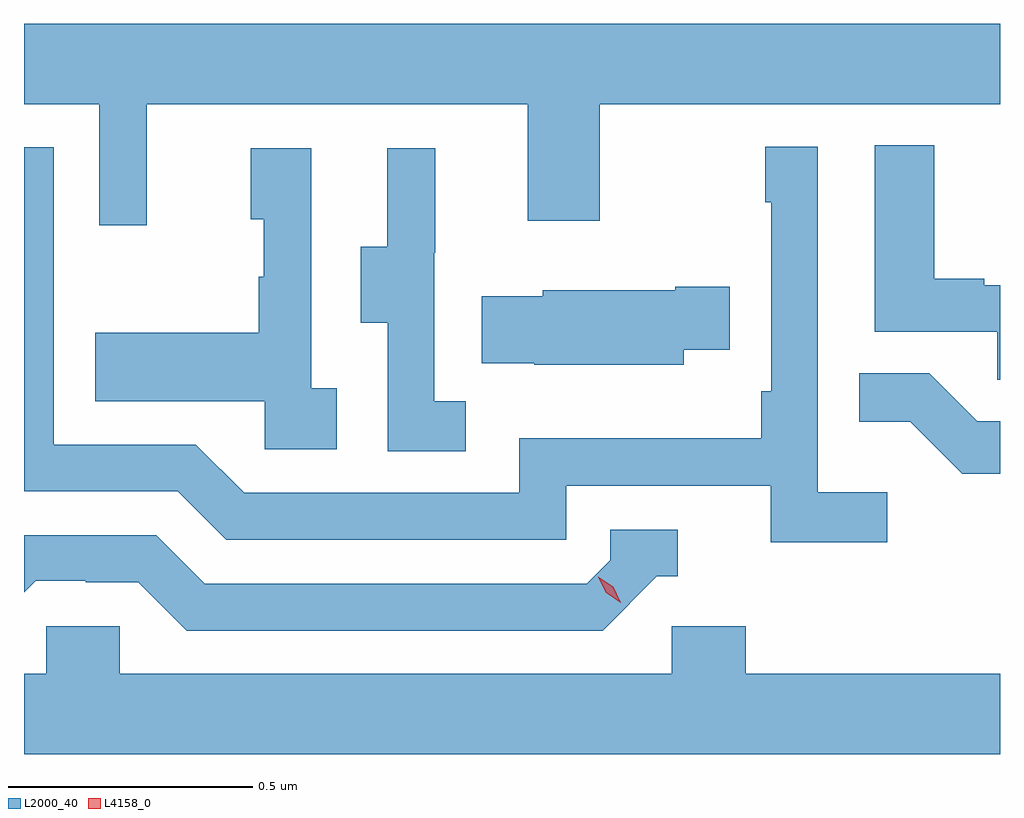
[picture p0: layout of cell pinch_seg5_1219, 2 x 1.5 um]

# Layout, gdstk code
import gdstk
lib = gdstk.Library(unit=1e-6, precision=1e-09)
def P(c, l, *ps):  # polygons
    for p in ps: c.add(gdstk.Polygon(p, *l))
L2000_40 = (2000, 40)
L4158_0 = (4158, 0)

pinch_seg5_1219 = lib.new_cell('pinch_seg5_1219')
P(pinch_seg5_1219, L2000_40, [(827.651,838.112),(828.431,838.112),(828.431,837.873),(828.579,837.873),(828.579,838.112),(829.399,838.112),(829.399,838.276),(827.399,838.276),(827.399,838.112),(827.553,838.112),(827.553,837.864),(827.651,837.864)],
  [(829.399,837.741),(829.367,837.741),(829.367,837.754),(829.264,837.754),(829.264,838.027),(829.142,838.027),(829.142,837.645),(829.393,837.645),(829.393,837.547),(829.399,837.547)],
  [(829.168,837.316),(829.026,837.316),(829.026,838.024),(828.918,838.024),(828.918,837.911),(828.93,837.911),(828.93,837.523),(828.91,837.523),(828.91,837.427),(828.414,837.427),(828.414,837.315),(827.85,837.315),(827.751,837.414),(827.46,837.414),(827.46,838.023),(827.399,838.023),(827.399,837.318),(827.714,837.318),(827.813,837.219),(828.51,837.219),(828.51,837.33),(828.929,837.33),(828.929,837.214),(829.168,837.214)],
  [(828.304,837.503),(828.24,837.503),(828.24,837.807),(828.242,837.807),(828.242,838.021),(828.143,838.021),(828.143,837.819),(828.089,837.819),(828.089,837.664),(828.144,837.664),(828.144,837.4),(828.304,837.4)],
  [(828.04,837.53),(827.988,837.53),(827.988,838.021),(827.864,838.021),(827.864,837.876),(827.89,837.876),(827.89,837.758),(827.88,837.758),(827.88,837.643),(827.545,837.643),(827.545,837.503),(827.892,837.503),(827.892,837.405),(828.04,837.405)],
  [(828.751,837.608),(828.845,837.608),(828.845,837.738),(828.734,837.738),(828.734,837.73),(828.462,837.73),(828.462,837.718),(828.337,837.718),(828.337,837.581),(828.445,837.581),(828.445,837.578),(828.751,837.578)],
  [(829.399,837.462),(829.352,837.462),(829.254,837.56),(829.111,837.56),(829.111,837.461),(829.215,837.461),(829.322,837.354),(829.399,837.354)],
  [(828.696,837.144),(828.739,837.144),(828.739,837.24),(828.6,837.24),(828.6,837.177),(828.552,837.129),(827.769,837.129),(827.67,837.228),(827.399,837.228),(827.399,837.111),(827.423,837.135),(827.526,837.135),(827.526,837.132),(827.633,837.132),(827.732,837.033),(828.585,837.033)],
  [(829.399,836.944),(828.878,836.944),(828.878,837.042),(828.726,837.042),(828.726,836.944),(827.595,836.944),(827.595,837.042),(827.445,837.042),(827.445,836.944),(827.399,836.944),(827.399,836.78),(829.399,836.78)])
P(pinch_seg5_1219, L4158_0, [(828.622,837.09),(828.592,837.11),(828.576,837.142),(828.576,837.143),(828.576,837.143),(828.606,837.123),(828.622,837.09),(828.622,837.09)])

lib.write_gds('pinch_seg5_1219.gds')
